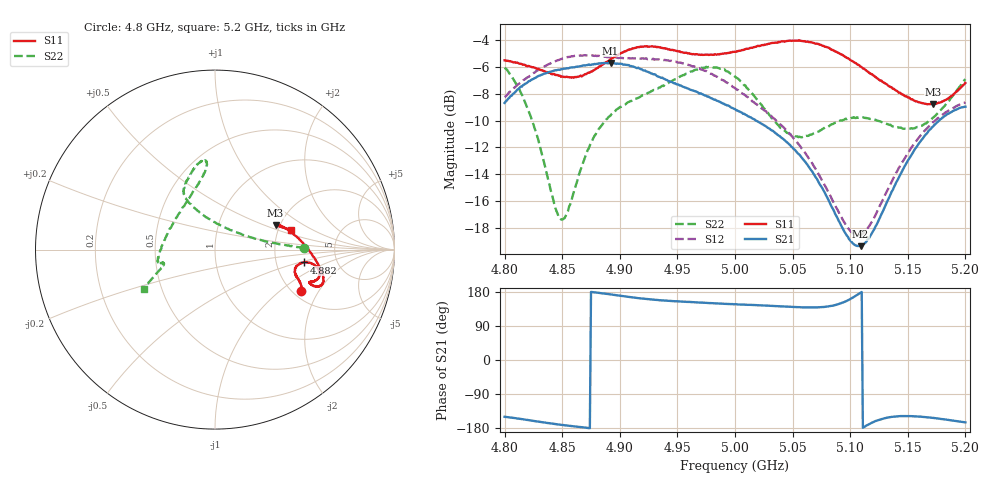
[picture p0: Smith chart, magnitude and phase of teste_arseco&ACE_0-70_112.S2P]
! Network Analyzer HP8722D
! Hewlett-Packard
! Data name: Linha & Wilkinson
! Saver's name: Rodrigo Anjos
! Comments: Teste da utilização de aquisição
! continua pelo VNA HP8722D
! Time and date: 8/5/2025 13:41
!  Frequency  S11  S21  S12  S22
# HZ  S  MA R 50
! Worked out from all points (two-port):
!   401 points, 4.8 GHz to 5.2 GHz, reference 50 ohm
!   highest |S21| = -5.68 dB at 4.892 GHz (marker M1); lowest = -19.4 dB at 5.109 GHz (marker M2)
!   |S21| within 3 dB of the highest: start of sweep to 4.989 GHz
!   lowest |S11| = -8.8 dB at 5.172 GHz (marker M3), VSWR 2.15, Z = 94.7 + j30.1 ohm
!   |S11| at or under -10 dB: nowhere
!   |S22| runs from -17.4 to -6.0 dB; largest |S21 - S12| = 1.1
!   S11 on the Smith chart (normalised r, x): 4.8 GHz: 2.23, -1.42; 4.882 GHz: 2.91, -0.56; 5.2 GHz: 2.35, +0.64
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4.8e9  0.5317 -25.4  0.3685 -149.9  0.3872 9.3  0.4986 1.0
4.812e9  0.5186 -22.4  0.4156 -154.7  0.4334 7.8  0.4197 2.6
4.822e9  0.5045 -20.5  0.4451 -159.4  0.466 6.2  0.3337 6.2
4.848e9  0.4658 -16.3  0.4896 -170.7  0.5354 2.1  0.1369 57.2
4.854e9  0.4618 -14.5  0.4968 -172.7  0.5454 1.2  0.1426 81.8
4.867e9  0.463 -11.2  0.5067 -177.6  0.5541 -0.7  0.2138 110.2
4.882e9  0.5036 -8.2  0.5187 177.0  0.5524 -1.8  0.2956 118.9
4.892e9  0.5355 -7.9  0.52 173.2  0.546 -1.9  0.3309 119.8
4.913e9  0.5912 -11.5  0.5012 164.5  0.5408 -1.4  0.3813 117.1
4.934e9  0.595 -16.1  0.4613 157.8  0.5359 -2.2  0.4203 111.2
4.973e9  0.5573 -19.0  0.3943 151.0  0.4877 -5.7  0.4991 98.5
5e9  0.5719 -19.9  0.3496 147.3  0.4187 -6.0  0.4616 96.1
5.018e9  0.5974 -20.0  0.3165 145.0  0.3657 -3.2  0.3849 103.4
5.044e9  0.6263 -18.1  0.265 141.0  0.2927 2.3  0.2882 131.7
5.067e9  0.6196 -13.6  0.2044 138.7  0.2193 9.1  0.2814 164.8
5.097e9  0.5432 -3.2  0.1177 156.1  0.1276 36.8  0.3205 -171.3
5.109e9  0.5034 2.4  0.1074 177.4  0.1185 60.4  0.3252 -167.6
5.118e9  0.4729 6.9  0.1182 -166.7  0.131 77.6  0.3213 -166.4
5.134e9  0.425 14.7  0.1639 -151.0  0.1797 94.6  0.3049 -165.9
5.154e9  0.3799 21.2  0.2386 -148.3  0.2543 100.9  0.2957 -164.2
5.172e9  0.3645 22.2  0.3011 -152.8  0.3123 101.5  0.3248 -160.1
5.2e9  0.4377 14.6  0.3568 -164.6  0.3707 102.0  0.4523 -151.1
